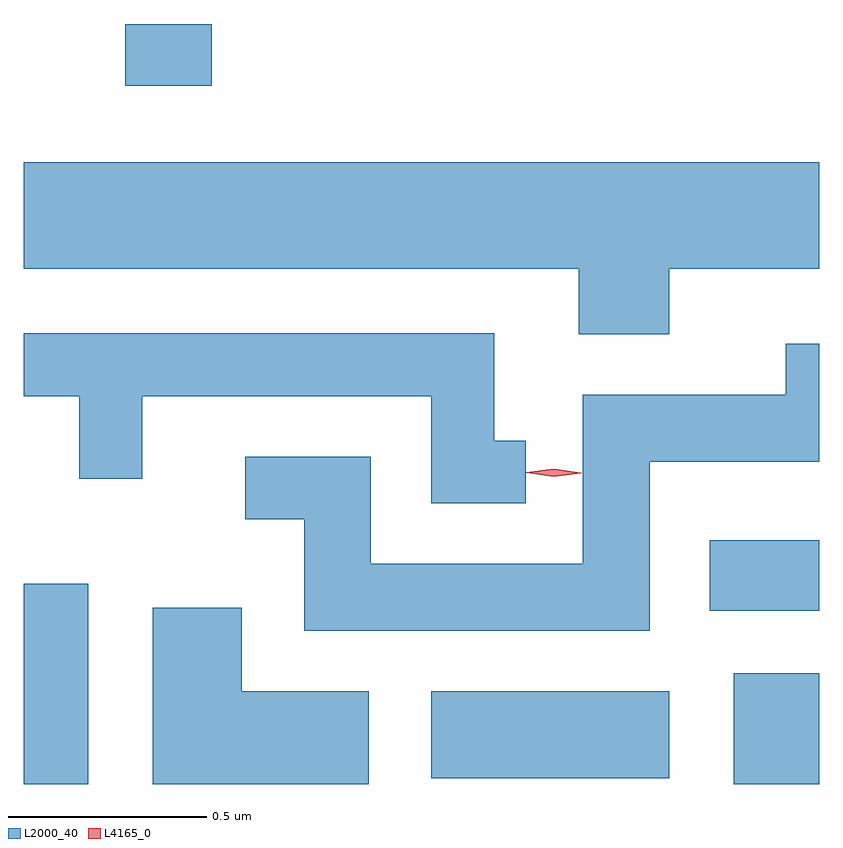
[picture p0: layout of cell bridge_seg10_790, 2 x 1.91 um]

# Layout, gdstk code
import gdstk
lib = gdstk.Library(unit=1e-6, precision=1e-09)
def R(c, l, rs):  # rectangles x0, y0, x1, y1
    for r in rs: c.add(gdstk.rectangle(r[:2], r[2:], *l))
def P(c, l, *ps):  # polygons
    for p in ps: c.add(gdstk.Polygon(p, *l))
L2000_40 = (2000, 40)
L4165_0 = (4165, 0)

bridge_seg10_790 = lib.new_cell('bridge_seg10_790')
R(bridge_seg10_790, L2000_40, [(600.196,2148.141,600.359,2148.644), (601.981,2148.141,602.196,2148.419), (601.221,2148.156,601.819,2148.374), (601.921,2148.576,602.196,2148.754), (600.451,2149.896,600.669,2150.051)])
P(bridge_seg10_790, L2000_40, [(601.819,2149.436),(602.196,2149.436),(602.196,2149.704),(600.196,2149.704),(600.196,2149.436),(601.591,2149.436),(601.591,2149.271),(601.819,2149.271)],
  [(601.458,2149.004),(601.379,2149.004),(601.379,2149.274),(600.196,2149.274),(600.196,2149.116),(600.336,2149.116),(600.336,2148.908),(600.494,2148.908),(600.494,2149.116),(601.221,2149.116),(601.221,2148.846),(601.458,2148.846)],
  [(601.769,2148.951),(602.196,2148.951),(602.196,2149.248),(602.111,2149.248),(602.111,2149.119),(601.601,2149.119),(601.601,2148.694),(601.069,2148.694),(601.069,2148.964),(600.753,2148.964),(600.753,2148.806),(600.901,2148.806),(600.901,2148.526),(601.769,2148.526)],
  [(601.064,2148.374),(600.744,2148.374),(600.744,2148.584),(600.521,2148.584),(600.521,2148.141),(601.064,2148.141)])
P(bridge_seg10_790, L4165_0, [(601.528,2148.913),(601.459,2148.923),(601.459,2148.923),(601.459,2148.924),(601.528,2148.933),(601.598,2148.923),(601.598,2148.923),(601.598,2148.922)])

lib.write_gds('bridge_seg10_790.gds')
